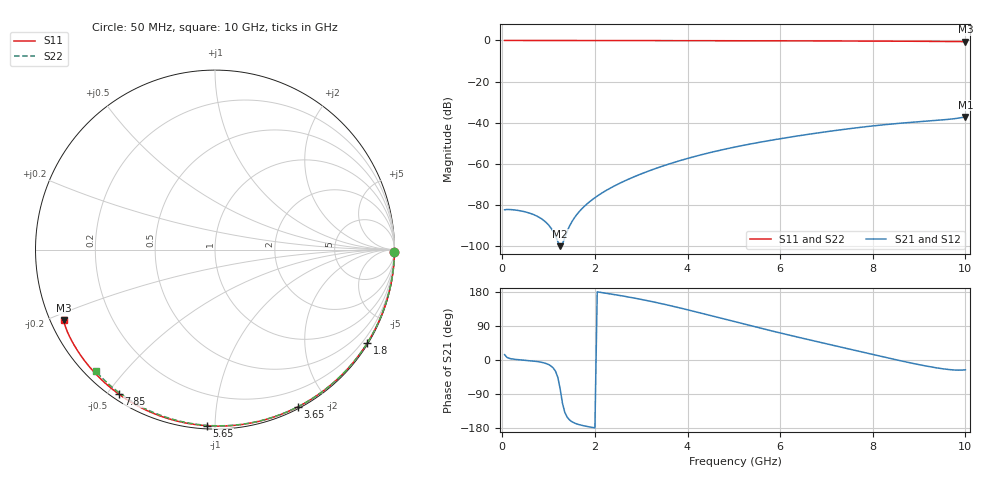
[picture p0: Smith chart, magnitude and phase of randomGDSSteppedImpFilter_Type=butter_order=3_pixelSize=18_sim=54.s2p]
! freq	dB(S11)	phase(S11)	dB(S12)	phase(S12)
!  dB(S21)	phase(S21)	dB(S22)	phase(S22)
!S-par simulation data
#  GHz  S  DB  R 50
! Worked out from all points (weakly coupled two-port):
!   200 points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, 50 MHz to 10 GHz, reference 50 ohm
!   highest |S21| = -37.12 dB at 10 GHz (marker M1); lowest = -99.9 dB at 1.25 GHz (marker M2)
!   lowest |S11| = -0.6 dB at 10 GHz (marker M3), VSWR 27.99, Z = 1.87 - j11.1 ohm
!   |S11| at or under -10 dB: nowhere
!   |S22| runs from -0.5 to 0.0 dB; largest |S21 - S12| = 0
!   S11 on the Smith chart (normalised r, x): 50 MHz: open; 1.8 GHz: 0.03, -3.55; 3.65 GHz: 0.02, -1.66; 5.65 GHz: 0.02, -0.95; 7.85 GHz: 0.02, -0.53; 10 GHz: 0.04, -0.22
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0.05  -0.00 -0.9  -82.26 14.1  -82.26 14.1  -0.00 -0.8
0.65  -0.01 -11.5  -84.36 -2.4  -84.36 -2.4  -0.01 -10.1
1.25  -0.03 -22.0  -99.93 -76.8  -99.93 -76.8  -0.02 -19.2
1.75  -0.04 -30.6  -81.04 -173.4  -81.04 -173.4  -0.03 -26.8
1.8  -0.04 -31.5  -79.98 -174.7  -79.98 -174.7  -0.03 -27.5
1.95  -0.04 -34.0  -77.20 -178.1  -77.20 -178.1  -0.04 -29.8
2.1  -0.05 -36.6  -74.85 178.9  -74.85 178.9  -0.04 -32.0
2.45  -0.06 -42.5  -70.33 172.1  -70.33 172.1  -0.05 -37.2
2.9  -0.07 -50.0  -65.71 162.3  -65.71 162.3  -0.06 -43.7
3.4  -0.08 -58.1  -61.49 149.7  -61.49 149.7  -0.07 -50.9
3.65  -0.08 -62.1  -59.66 142.8  -59.66 142.8  -0.07 -54.5
4.3  -0.10 -72.3  -55.51 123.4  -55.51 123.4  -0.09 -63.5
5.05  -0.13 -83.8  -51.65 100.1  -51.65 100.1  -0.11 -73.7
5.65  -0.15 -92.6  -49.08 81.8  -49.08 81.8  -0.13 -81.5
6.15  -0.18 -99.9  -47.19 67.0  -47.19 67.0  -0.16 -88.0
6.7  -0.21 -107.7  -45.29 51.2  -45.29 51.2  -0.18 -94.9
7.25  -0.25 -115.4  -43.56 35.7  -43.56 35.7  -0.21 -101.7
7.85  -0.29 -123.7  -41.89 18.8  -41.89 18.8  -0.25 -108.9
8.35  -0.33 -130.6  -40.71 4.8  -40.71 4.8  -0.29 -114.9
9.35  -0.45 -144.6  -38.86 -20.2  -38.86 -20.2  -0.38 -126.7
9.75  -0.52 -150.7  -38.03 -26.3  -38.03 -26.3  -0.42 -131.4
10  -0.62 -155.0  -37.12 -25.9  -37.12 -25.9  -0.45 -134.3
